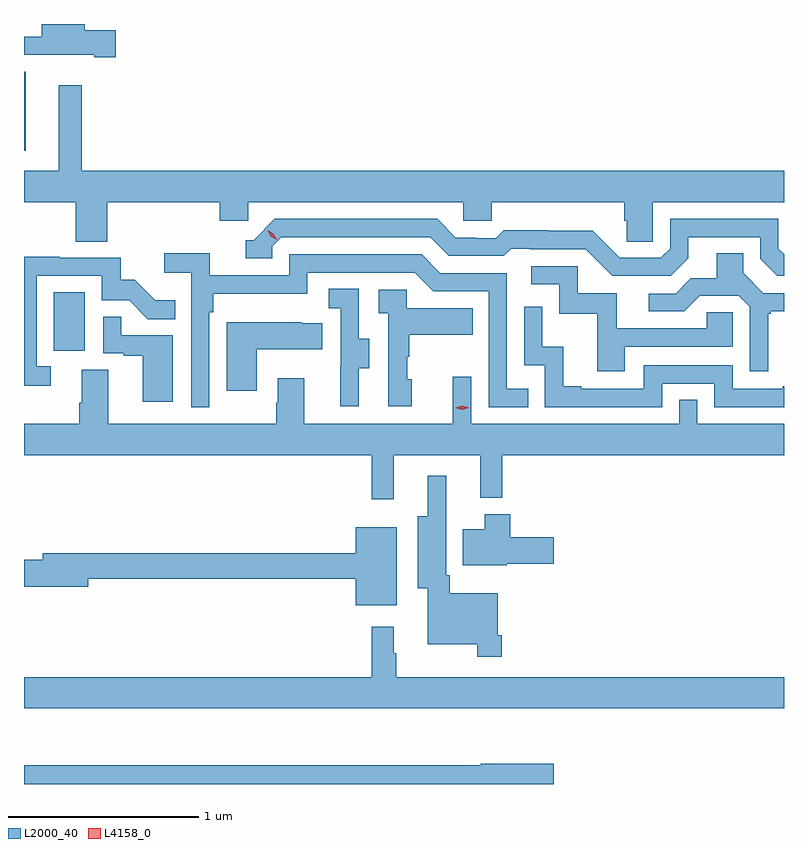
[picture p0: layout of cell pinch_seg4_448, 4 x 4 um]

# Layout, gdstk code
import gdstk
lib = gdstk.Library(unit=1e-6, precision=1e-09)
def R(c, l, rs):  # rectangles x0, y0, x1, y1
    for r in rs: c.add(gdstk.rectangle(r[:2], r[2:], *l))
def P(c, l, *ps):  # polygons
    for p in ps: c.add(gdstk.Polygon(p, *l))
L2000_40 = (2000, 40)
L4158_0 = (4158, 0)

pinch_seg4_448 = lib.new_cell('pinch_seg4_448')
R(pinch_seg4_448, L2000_40, [(926.114,790.71,926.278,791.017), (925.958,791.763,925.966,792.178)])
P(pinch_seg4_448, L2000_40, [(926.44,792.396),(926.278,792.396),(926.278,792.429),(926.051,792.429),(926.051,792.363),(925.958,792.363),(925.958,792.267),(926.055,792.267),(926.055,792.266),(926.327,792.266),(926.327,792.254),(926.44,792.254)],
  [(926.396,791.492),(926.987,791.492),(926.987,791.394),(927.138,791.394),(927.138,791.492),(928.269,791.492),(928.269,791.394),(928.419,791.394),(928.419,791.492),(929.117,791.492),(929.117,791.394),(929.131,791.394),(929.131,791.284),(929.268,791.284),(929.268,791.492),(929.958,791.492),(929.958,791.656),(926.263,791.656),(926.263,792.106),(926.141,792.106),(926.141,791.656),(925.958,791.656),(925.958,791.492),(926.231,791.492),(926.231,791.284),(926.396,791.284)],
  [(929.455,791.197),(929.455,791.307),(929.832,791.307),(929.832,791.193),(929.922,791.103),(929.958,791.103),(929.958,791.217),(929.928,791.247),(929.928,791.403),(929.358,791.403),(929.358,791.247),(929.31,791.199),(929.094,791.199),(928.952,791.341),(928.716,791.341),(928.716,791.344),(928.483,791.344),(928.441,791.301),(928.338,791.301),(928.338,791.304),(928.231,791.304),(928.132,791.403),(927.279,791.403),(927.168,791.292),(927.125,791.292),(927.125,791.196),(927.264,791.196),(927.264,791.259),(927.312,791.307),(928.095,791.307),(928.194,791.208),(928.483,791.208),(928.522,791.247),(928.621,791.247),(928.621,791.244),(928.914,791.244),(929.055,791.103),(929.361,791.103)],
  [(929.875,790.905),(929.887,790.905),(929.887,790.916),(929.958,790.916),(929.958,791.013),(929.85,791.013),(929.743,791.12),(929.743,791.222),(929.603,791.222),(929.603,791.09),(929.468,791.09),(929.388,791.01),(929.247,791.01),(929.247,790.917),(929.434,790.917),(929.515,790.998),(929.721,790.998),(929.778,790.941),(929.778,790.602),(929.875,790.602)],
  [(926.934,790.913),(926.954,790.913),(926.954,791.009),(927.45,791.009),(927.45,791.121),(928.014,791.121),(928.113,791.022),(928.404,791.022),(928.404,790.413),(928.613,790.413),(928.613,790.509),(928.5,790.509),(928.5,791.118),(928.15,791.118),(928.051,791.217),(927.354,791.217),(927.354,791.106),(926.936,791.106),(926.936,791.222),(926.697,791.222),(926.697,791.12),(926.838,791.12),(926.838,790.413),(926.934,790.413)],
  [(926.098,790.629),(926.025,790.629),(926.025,791.103),(926.367,791.103),(926.367,790.974),(926.511,790.974),(926.609,790.876),(926.753,790.876),(926.753,790.975),(926.649,790.975),(926.542,791.082),(926.466,791.082),(926.466,791.199),(926.147,791.199),(926.147,791.204),(925.958,791.204),(925.958,790.524),(926.098,790.524)],
  [(929.119,790.731),(929.688,790.731),(929.688,790.911),(929.551,790.911),(929.551,790.827),(929.077,790.827),(929.077,791.013),(928.872,791.013),(928.872,791.154),(928.629,791.154),(928.629,791.058),(928.776,791.058),(928.776,790.905),(928.975,790.905),(928.975,790.602),(929.119,790.602)],
  [(927.721,790.618),(927.775,790.618),(927.775,790.773),(927.72,790.773),(927.72,791.036),(927.561,791.036),(927.561,790.933),(927.624,790.933),(927.624,790.629),(927.623,790.629),(927.623,790.416),(927.721,790.416)],
  [(928,790.56),(927.975,790.56),(927.975,790.679),(927.985,790.679),(927.985,790.793),(928.319,790.793),(928.319,790.933),(927.972,790.933),(927.972,791.031),(927.825,791.031),(927.825,790.907),(927.876,790.907),(927.876,790.416),(928,790.416)],
  [(929.316,790.536),(929.592,790.536),(929.592,790.413),(929.958,790.413),(929.958,790.522),(929.951,790.522),(929.951,790.509),(929.688,790.509),(929.688,790.632),(929.22,790.632),(929.22,790.509),(928.891,790.509),(928.891,790.522),(928.796,790.522),(928.796,790.73),(928.686,790.73),(928.686,790.942),(928.59,790.942),(928.59,790.632),(928.698,790.632),(928.698,790.413),(929.316,790.413)],
  [(926.74,790.791),(926.471,790.791),(926.471,790.889),(926.376,790.889),(926.376,790.695),(926.483,790.695),(926.483,790.683),(926.582,790.683),(926.582,790.44),(926.74,790.44)],
  [(927.184,790.718),(927.527,790.718),(927.527,790.855),(927.419,790.855),(927.419,790.858),(927.026,790.858),(927.026,790.5),(927.184,790.5)],
  [(927.905,790.16),(928.358,790.16),(928.358,789.935),(928.475,789.935),(928.475,790.16),(929.958,790.16),(929.958,790.324),(929.502,790.324),(929.502,790.451),(929.406,790.451),(929.406,790.324),(928.311,790.324),(928.311,790.573),(928.214,790.573),(928.214,790.324),(927.433,790.324),(927.433,790.564),(927.293,790.564),(927.293,790.436),(927.286,790.436),(927.286,790.324),(926.401,790.324),(926.401,790.61),(926.261,790.61),(926.261,790.436),(926.249,790.436),(926.249,790.324),(925.958,790.324),(925.958,790.16),(927.787,790.16),(927.787,789.927),(927.905,789.927)],
  [(928.472,789.211),(928.452,789.211),(928.452,789.433),(928.199,789.433),(928.199,789.529),(928.181,789.529),(928.181,790.051),(928.082,790.051),(928.082,789.838),(928.031,789.838),(928.031,789.458),(928.082,789.458),(928.082,789.164),(928.344,789.164),(928.344,789.099),(928.472,789.099)],
  [(928.5,789.587),(928.747,789.587),(928.747,789.729),(928.517,789.729),(928.517,789.85),(928.382,789.85),(928.382,789.769),(928.268,789.769),(928.268,789.581),(928.5,789.581)],
  [(927.919,789.781),(927.704,789.781),(927.704,789.644),(926.057,789.644),(926.057,789.608),(925.958,789.608),(925.958,789.466),(926.296,789.466),(926.296,789.508),(927.704,789.508),(927.704,789.371),(927.919,789.371)],
  [(929.958,788.992),(927.916,788.992),(927.916,789.116),(927.904,789.116),(927.904,789.256),(927.787,789.256),(927.787,788.992),(925.958,788.992),(925.958,788.828),(929.958,788.828)],
  [(928.747,788.535),(928.362,788.535),(928.362,788.527),(925.958,788.527),(925.958,788.429),(928.747,788.429)])
P(pinch_seg4_448, L4158_0, [(927.288,791.293),(927.257,791.312),(927.24,791.344),(927.24,791.344),(927.24,791.344),(927.271,791.326),(927.288,791.293),(927.288,791.293)],
  [(928.264,790.399),(928.228,790.409),(928.228,790.41),(928.228,790.41),(928.264,790.419),(928.3,790.408),(928.3,790.408),(928.3,790.408)])

lib.write_gds('pinch_seg4_448.gds')
